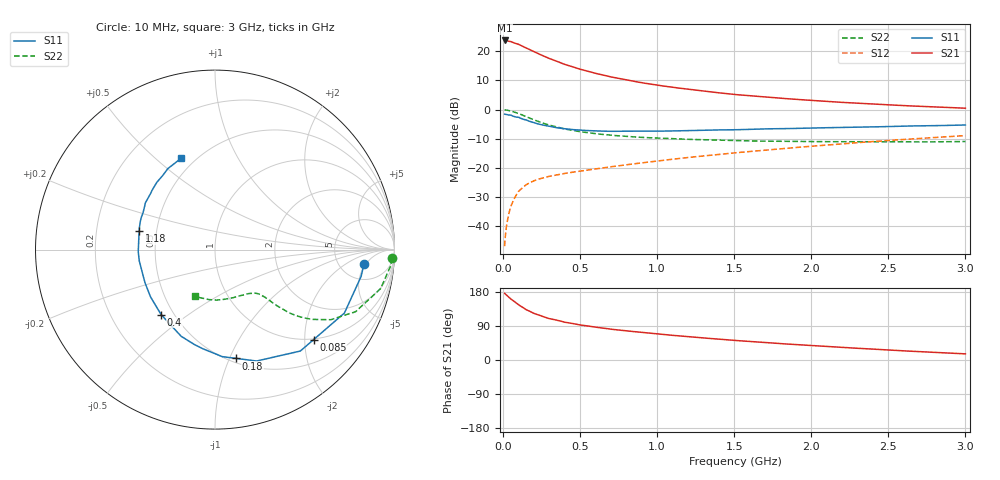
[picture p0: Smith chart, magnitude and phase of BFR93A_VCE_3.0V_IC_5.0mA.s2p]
! Infineon Technologies  Discrete & RF Semiconductors
! BFR93A
! VCE =  3.0 V,  IC =  5.0 mA
! Common Emitter S-Parameters:  Nov 2015
# GHz  S  MA  R  50
!  f  S11  S21  S12  S22
! GHz  MAG  ANG  MAG  ANG  MAG  ANG  MAG  ANG
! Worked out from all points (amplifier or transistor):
!   180 points, 10 MHz to 3 GHz, reference 50 ohm
!   highest |S21| = 23.6 dB at 10 MHz (marker M1)
!   |S21| within 3 dB of that: start of sweep to 167.7 MHz
!   unconditionally stable (mu >= 1): 738.5 MHz to 2.835 GHz
!   at 160 MHz: K = 0.34, MSG = 23.1 dB, |S12| = -25.4 dB
!   at 1.22 GHz: K = 1.12, MAG = 9.4 dB, |S12| = -16.3 dB
!   at 3 GHz: K = 0.98, MSG = 4.7 dB, |S12| = -8.9 dB
!   S11 on the Smith chart (normalised r, x): 10 MHz: 8.72, -4.51; 85 MHz: 0.98, -2.21; 180 MHz: 0.54, -1.06; 400 MHz: 0.43, -0.40; 1.18 GHz: 0.40, +0.10; 3 GHz: 0.42, +0.61
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0.01  0.8344 -5.4  15.19 175.9  0.0046 87.2  0.9882 -2.8
0.02  0.8274 -10.5  15.1 172.1  0.0092 83.4  0.9822 -5.4
0.05  0.803 -26.1  14.54 161.1  0.0219 76.6  0.9484 -13.2
0.085  0.7438 -42.4  13.41 150.6  0.0343 68.0  0.8809 -20.4
0.1  0.7386 -49.9  13.07 145.6  0.0397 66.0  0.8567 -23.8
0.15  0.6628 -69.5  11.33 132.7  0.0517 58.1  0.7541 -31.2
0.18  0.6174 -79.1  10.37 127.3  0.0569 55.2  0.7009 -33.8
0.2  0.5977 -86.1  9.797 123.1  0.0604 53.6  0.6664 -35.7
0.24  0.5565 -97.0  8.749 117.0  0.0655 51.1  0.6092 -38.1
0.26  0.5417 -102.1  8.291 114.1  0.0678 50.2  0.5843 -39.1
0.3  0.5185 -111.3  7.47 109.2  0.072 49.1  0.5413 -40.5
0.4  0.4703 -129.7  5.92 99.7  0.0807 48.3  0.4649 -42.2
0.52  0.4414 -145.9  4.744 91.4  0.0901 48.9  0.4112 -43.1
0.6  0.4314 -154.8  4.161 86.5  0.0966 49.8  0.3854 -43.6
0.7  0.4242 -163.7  3.614 81.3  0.1049 51.0  0.3635 -44.5
0.9  0.4278 -178.4  2.872 72.8  0.1224 53.1  0.3337 -46.8
1.02  0.4272 174.6  2.567 68.0  0.1334 53.8  0.3233 -48.7
1.18  0.4351 166.3  2.26 62.3  0.1492 54.6  0.3108 -52.0
1.52  0.4516 152.2  1.792 51.2  0.1833 55.1  0.2941 -60.3
2.02  0.4835 135.9  1.424 37.7  0.2379 53.7  0.283 -75.5
2.52  0.5142 122.4  1.197 26.0  0.298 50.0  0.2806 -93.1
3  0.5438 110.1  1.054 16.2  0.3582 45.0  0.284 -113.3
